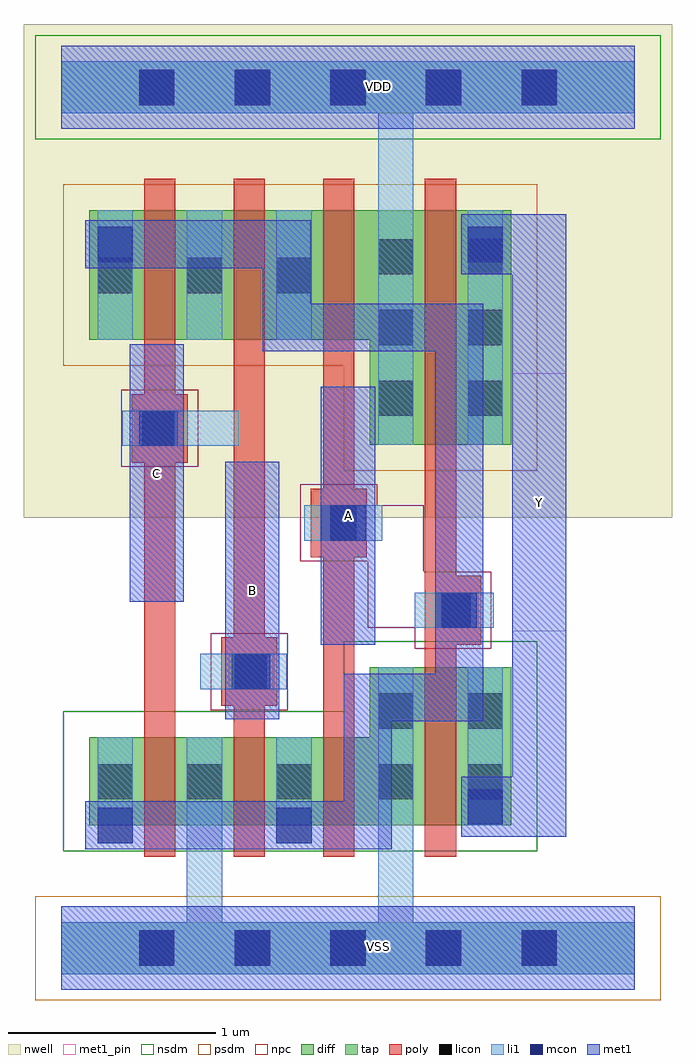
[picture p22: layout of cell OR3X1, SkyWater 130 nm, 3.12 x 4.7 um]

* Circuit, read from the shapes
.subckt OR3X1 A B C VDD VSS Y
XM1 VSS C n1 VSS sky130_fd_pr__nfet_01v8 w=0.425 l=0.15
XM2 n1 B VSS VSS sky130_fd_pr__nfet_01v8 w=0.425 l=0.15
XM3 VSS A n1 VSS sky130_fd_pr__nfet_01v8 w=0.425 l=0.15
XM4 Y n1 VSS VSS sky130_fd_pr__nfet_01v8 w=0.76 l=0.15
XM5 n2 C n1 VDD sky130_fd_pr__pfet_01v8 w=0.625 l=0.15
XM6 n3 B n2 VDD sky130_fd_pr__pfet_01v8 w=0.625 l=0.15
XM7 VDD A n3 VDD sky130_fd_pr__pfet_01v8 w=0.625 l=0.15
XM8 Y n1 VDD VDD sky130_fd_pr__pfet_01v8 w=1.13 l=0.15
.ends

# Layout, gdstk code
import gdstk
lib = gdstk.Library(unit=1e-6, precision=1e-09)
def R(c, l, rs):  # rectangles x0, y0, x1, y1
    for r in rs: c.add(gdstk.rectangle(r[:2], r[2:], *l))
def A(c, l, x, y, w, h, nx, ny, dx, dy):  # array of equal rectangles
    R(c, l, [(x+i*dx, y+j*dy, x+i*dx+w, y+j*dy+h) for i in range(nx) for j in range(ny)])
nwell = (64, 20)
diff = (65, 20)
tap = (65, 44)
poly = (66, 20)
licon = (66, 44)
li1 = (67, 20)
mcon = (67, 44)
met1_pin = (68, 16)
met1 = (68, 20)
nsdm = (93, 44)
psdm = (94, 20)
npc = (95, 20)

or3x1 = lib.new_cell('OR3X1')
R(or3x1, nwell, [(-0.18,2.07,2.94,4.445)])
R(or3x1, diff, [(0.135,0.59,2.165,1.015), (1.485,1.015,2.165,1.35), (1.485,2.42,2.165,2.925), (0.135,2.925,2.165,3.55)])
R(or3x1, tap, [(0,-0.125,2.76,0.125), (0,4.015,2.76,4.265)])
R(or3x1, poly, [(0.4,0.44,0.55,2.335), (0.83,0.44,0.98,1.165), (1.26,0.44,1.41,1.88), (1.75,0.44,1.9,1.46), (0.77,1.165,1.04,1.495), (1.75,1.46,2.02,1.79), (0.83,1.495,0.98,3.7), (1.75,1.79,1.9,3.7), (1.2,1.88,1.47,2.21), (1.26,2.21,1.41,3.7), (0.34,2.335,0.61,2.665), (0.4,2.665,0.55,3.7)])
A(or3x1, licon, 0.375, -0.085, 0.17, 0.17, 5, 2, 0.46, 4.14)
A(or3x1, licon, 0.175, 0.715, 0.17, 0.17, 3, 2, 0.43, 2.435)
A(or3x1, licon, 1.525, 2.56, 0.17, 0.17, 1, 3, 0, 0.34)
A(or3x1, licon, 1.955, 2.56, 0.17, 0.17, 1, 3, 0, 0.34)
R(or3x1, licon, [(1.525,0.715,1.695,0.885), (1.955,0.715,2.125,0.885), (1.525,1.055,1.695,1.225), (1.955,1.055,2.125,1.225), (0.82,1.245,0.99,1.415), (1.8,1.54,1.97,1.71), (1.25,1.96,1.42,2.13), (0.39,2.415,0.56,2.585)])
A(or3x1, li1, 0.175, 2.925, 0.17, 0.625, 3, 1, 0.43, 0)
R(or3x1, li1, [(0,-0.125,2.76,0.125), (0.605,0.125,0.775,1.015), (1.525,0.125,1.695,1.35), (0.175,0.505,0.345,1.015), (1.035,0.505,1.205,1.015), (1.955,0.59,2.125,1.35), (0.67,1.245,1.085,1.415), (1.7,1.54,2.08,1.71), (1.17,1.96,1.545,2.13), (0.295,2.415,0.855,2.585), (1.525,2.42,1.695,4.015), (1.955,2.42,2.125,3.55), (0,4.015,2.76,4.265)])
A(or3x1, mcon, 0.375, -0.085, 0.17, 0.17, 5, 2, 0.46, 4.14)
R(or3x1, mcon, [(0.175,0.505,0.345,0.675), (1.035,0.505,1.205,0.675), (1.955,0.595,2.125,0.765), (0.835,1.245,1.005,1.415), (1.83,1.54,2,1.71), (1.295,1.96,1.465,2.13), (0.375,2.415,0.545,2.585), (0.175,3.3,0.345,3.47), (1.955,3.3,2.125,3.47)])
R(or3x1, met1_pin, [(0.79,1.1,1.05,2.34), (1.25,1.46,1.51,2.7), (2.17,1.525,2.43,2.765), (0.33,1.665,0.59,2.905)])
R(or3x1, met1, [(0,-0.2,2.76,0.2), (0.115,0.475,1.59,0.705), (1.925,0.535,2.43,0.825), (1.36,0.705,1.59,1.09), (2.17,0.825,2.43,3.24), (1.36,1.09,2.03,1.32), (0.79,1.1,1.05,2.34), (1.8,1.32,2.03,2.87), (1.25,1.46,1.51,2.7), (0.33,1.665,0.59,2.905), (0.97,2.87,2.03,3.1), (0.97,3.1,1.2,3.27), (1.925,3.24,2.43,3.53), (0.115,3.27,1.2,3.5), (0,3.94,2.76,4.34)])
R(or3x1, nsdm, [(0.01,0.465,2.29,1.14), (1.36,1.14,2.29,1.475), (-0.125,3.89,2.885,4.39)])
R(or3x1, psdm, [(-0.125,-0.25,2.885,0.25), (1.36,2.295,2.29,2.8), (0.01,2.8,2.29,3.675)])
R(or3x1, npc, [(0.72,1.145,1.09,1.515), (1.7,1.44,2.07,1.54), (1.475,1.54,2.07,1.81), (1.475,1.81,1.745,1.86), (1.15,1.86,1.745,2.13), (1.15,2.13,1.52,2.23), (0.29,2.315,0.66,2.685)])
or3x1.add(gdstk.Label('VDD', (1.525,4.145), layer=68, texttype=5))
or3x1.add(gdstk.Label('VDD', (1.525,4.145), layer=68, texttype=5))
or3x1.add(gdstk.Label('VSS', (1.525,0.005), layer=68, texttype=5))
or3x1.add(gdstk.Label('Y', (2.3,2.145), layer=68, texttype=5))
or3x1.add(gdstk.Label('A', (1.38,2.08), layer=68, texttype=5))
or3x1.add(gdstk.Label('B', (0.92,1.72), layer=68, texttype=5))
or3x1.add(gdstk.Label('C', (0.46,2.285), layer=68, texttype=5))

lib.write_gds('OR3X1.gds')
